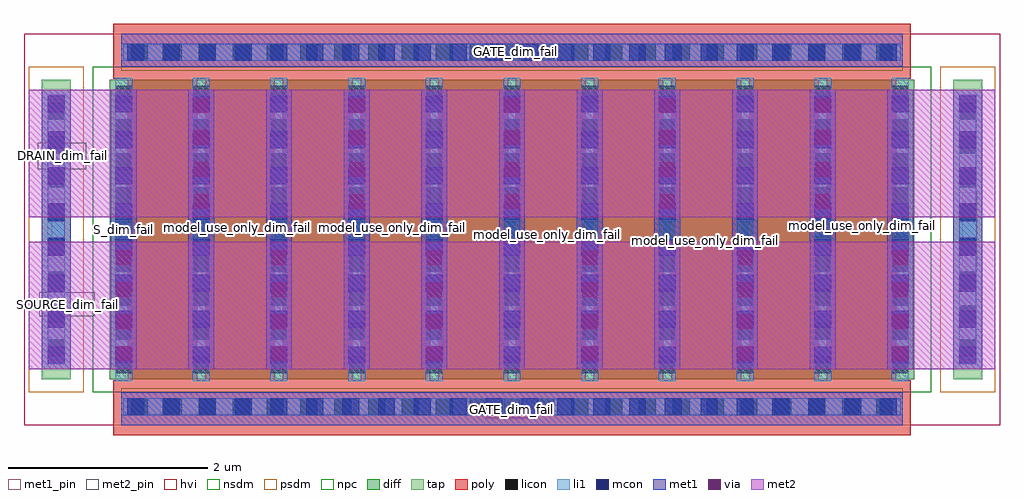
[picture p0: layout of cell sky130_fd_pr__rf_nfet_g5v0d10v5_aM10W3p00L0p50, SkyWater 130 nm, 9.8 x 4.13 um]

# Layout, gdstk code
import gdstk
lib = gdstk.Library(unit=1e-6, precision=1e-09)
def R(c, l, rs):  # rectangles x0, y0, x1, y1
    for r in rs: c.add(gdstk.rectangle(r[:2], r[2:], *l))
def A(c, l, x, y, w, h, nx, ny, dx, dy):  # array of equal rectangles
    R(c, l, [(x+i*dx, y+j*dy, x+i*dx+w, y+j*dy+h) for i in range(nx) for j in range(ny)])
def P(c, l, *ps):  # polygons
    for p in ps: c.add(gdstk.Polygon(p, *l))
diff = (65, 20)
tap = (65, 44)
poly = (66, 20)
licon = (66, 44)
li1 = (67, 20)
mcon = (67, 44)
met1_pin = (68, 16)
met1 = (68, 20)
via = (68, 44)
met2_pin = (69, 16)
met2 = (69, 20)
hvi = (75, 20)
nsdm = (93, 44)
psdm = (94, 20)
npc = (95, 20)

sky130_fd_pr__rf_nfet_g5 = lib.new_cell('sky130_fd_pr__rf_nfet_g5v0d10v5_aM10W3p00L0p50')
R(sky130_fd_pr__rf_nfet_g5, diff, [(0.86,0.46,8.94,3.47)])
R(sky130_fd_pr__rf_nfet_g5, tap, [(0.18,0.46,0.47,3.47), (9.33,0.46,9.62,3.47)])
P(sky130_fd_pr__rf_nfet_g5, poly, [(0.895,-0.1),(0.895,0.45),(1.04,0.45),(1.04,3.48),(1.74,3.48),(1.74,0.45),(1.82,0.45),(1.82,3.48),(2.52,3.48),(2.52,0.45),(2.6,0.45),(2.6,3.48),(3.3,3.48),(3.3,0.45),(3.38,0.45),(3.38,3.48),(4.08,3.48),(4.08,0.45),(4.16,0.45),(4.16,3.48),(4.86,3.48),(4.86,0.45),(4.94,0.45),(4.94,3.48),(5.64,3.48),(5.64,0.45),(5.72,0.45),(5.72,3.48),(6.42,3.48),(6.42,0.45),(6.5,0.45),(6.5,3.48),(7.2,3.48),(7.2,0.45),(7.28,0.45),(7.28,3.48),(7.98,3.48),(7.98,0.45),(8.06,0.45),(8.06,3.48),(0.895,3.48),(0.895,4.03),(8.905,4.03),(8.905,3.48),(8.76,3.48),(8.76,0.45),(8.905,0.45),(8.905,-0.1)])
A(sky130_fd_pr__rf_nfet_g5, licon, 1.075, 0.1, 0.17, 0.17, 23, 2, 0.34, 3.56)
A(sky130_fd_pr__rf_nfet_g5, licon, 0.915, 0.52, 0.17, 0.17, 11, 9, 0.78, 0.34)
A(sky130_fd_pr__rf_nfet_g5, licon, 0.24, 0.69, 0.17, 0.17, 1, 8, 0, 0.34)
A(sky130_fd_pr__rf_nfet_g5, licon, 9.39, 0.69, 0.17, 0.17, 1, 8, 0, 0.34)
A(sky130_fd_pr__rf_nfet_g5, li1, 0.915, 0.44, 0.17, 3.05, 11, 1, 0.78, 0)
A(sky130_fd_pr__rf_nfet_g5, li1, 0.915, 0.62, 0.17, 2.69, 11, 1, 0.78, 0)
R(sky130_fd_pr__rf_nfet_g5, li1, [(0.995,0.1,8.805,0.27), (1.035,0.1,8.765,0.27), (0.24,0.61,0.41,3.32), (9.39,0.61,9.56,3.32), (0.995,3.66,8.805,3.83), (1.035,3.66,8.765,3.83)])
A(sky130_fd_pr__rf_nfet_g5, mcon, 1.035, 0.1, 0.17, 0.17, 22, 2, 0.36, 3.56)
A(sky130_fd_pr__rf_nfet_g5, mcon, 0.24, 0.62, 0.17, 0.17, 1, 8, 0, 0.36)
A(sky130_fd_pr__rf_nfet_g5, mcon, 0.915, 0.62, 0.17, 0.17, 11, 8, 0.78, 0.36)
A(sky130_fd_pr__rf_nfet_g5, mcon, 9.39, 0.62, 0.17, 0.17, 1, 8, 0, 0.36)
R(sky130_fd_pr__rf_nfet_g5, met1_pin, [(4.645,0.07,5.13,0.245), (9.42,1.59,9.57,2.34), (0.28,1.63,0.41,2.275), (4.635,3.67,5.245,3.835)])
A(sky130_fd_pr__rf_nfet_g5, met1, 0.87, 0.56, 0.26, 2.81, 11, 1, 0.78, 0)
A(sky130_fd_pr__rf_nfet_g5, met1, 0.87, 0.56, 0.26, 1.28, 6, 1, 1.56, 0)
A(sky130_fd_pr__rf_nfet_g5, met1, 1.65, 2.09, 0.26, 1.28, 5, 1, 1.56, 0)
R(sky130_fd_pr__rf_nfet_g5, met1, [(0.975,0,8.825,0.33), (0.18,0.56,0.47,3.37), (9.33,0.56,9.62,3.37), (0.975,3.6,8.825,3.93)])
A(sky130_fd_pr__rf_nfet_g5, via, 0.925, 0.645, 0.15, 0.15, 6, 4, 1.56, 0.32)
A(sky130_fd_pr__rf_nfet_g5, via, 1.705, 2.175, 0.15, 0.15, 5, 4, 1.56, 0.32)
R(sky130_fd_pr__rf_nfet_g5, met2_pin, [(0.155,1.095,0.71,1.335), (0.14,2.57,0.625,2.835)])
A(sky130_fd_pr__rf_nfet_g5, met2, 0.87, 0.56, 0.26, 1.28, 6, 1, 1.56, 0)
A(sky130_fd_pr__rf_nfet_g5, met2, 1.65, 2.09, 0.26, 1.28, 5, 1, 1.56, 0)
R(sky130_fd_pr__rf_nfet_g5, met2, [(0.05,0.56,9.75,1.84), (0.05,2.09,9.75,3.37)])
R(sky130_fd_pr__rf_nfet_g5, hvi, [(0,0,9.8,3.93)])
R(sky130_fd_pr__rf_nfet_g5, nsdm, [(0.69,0.33,9.11,3.6)])
R(sky130_fd_pr__rf_nfet_g5, psdm, [(0.05,0.33,0.6,3.6), (9.2,0.33,9.75,3.6)])
R(sky130_fd_pr__rf_nfet_g5, npc, [(0.975,0,8.825,0.37), (0.975,3.56,8.825,3.93)])
sky130_fd_pr__rf_nfet_g5.add(gdstk.Label('model_use_only_dim_fail', (8.415,2.01), layer=66, texttype=83))
sky130_fd_pr__rf_nfet_g5.add(gdstk.Label('model_use_only_dim_fail', (7.605,1.91), layer=66, texttype=83))
sky130_fd_pr__rf_nfet_g5.add(gdstk.Label('model_use_only_dim_fail', (6.84,1.855), layer=66, texttype=83))
sky130_fd_pr__rf_nfet_g5.add(gdstk.Label('model_use_only_dim_fail', (6.005,1.895), layer=66, texttype=83))
sky130_fd_pr__rf_nfet_g5.add(gdstk.Label('model_use_only_dim_fail', (5.255,1.91), layer=66, texttype=83))
sky130_fd_pr__rf_nfet_g5.add(gdstk.Label('model_use_only_dim_fail', (4.495,1.96), layer=66, texttype=83))
sky130_fd_pr__rf_nfet_g5.add(gdstk.Label('model_use_only_dim_fail', (3.705,1.985), layer=66, texttype=83))
sky130_fd_pr__rf_nfet_g5.add(gdstk.Label('model_use_only_dim_fail', (2.92,2.02), layer=66, texttype=83))
sky130_fd_pr__rf_nfet_g5.add(gdstk.Label('model_use_only_dim_fail', (2.145,1.985), layer=66, texttype=83))
sky130_fd_pr__rf_nfet_g5.add(gdstk.Label('model_use_only_dim_fail', (1.345,1.97), layer=66, texttype=83))
sky130_fd_pr__rf_nfet_g5.add(gdstk.Label('D_dim_fail', (1.78,1.965), layer=83, texttype=44))
sky130_fd_pr__rf_nfet_g5.add(gdstk.Label('S_dim_fail', (1.78,1.965), layer=83, texttype=44))
sky130_fd_pr__rf_nfet_g5.add(gdstk.Label('S_dim_fail', (1,1.965), layer=83, texttype=44))
sky130_fd_pr__rf_nfet_g5.add(gdstk.Label('S_dim_fail', (1,1.965), layer=83, texttype=44))
sky130_fd_pr__rf_nfet_g5.add(gdstk.Label('D_dim_fail', (3.34,1.965), layer=83, texttype=44))
sky130_fd_pr__rf_nfet_g5.add(gdstk.Label('S_dim_fail', (2.56,1.965), layer=83, texttype=44))
sky130_fd_pr__rf_nfet_g5.add(gdstk.Label('S_dim_fail', (3.34,1.965), layer=83, texttype=44))
sky130_fd_pr__rf_nfet_g5.add(gdstk.Label('S_dim_fail', (2.56,1.965), layer=83, texttype=44))
sky130_fd_pr__rf_nfet_g5.add(gdstk.Label('D_dim_fail', (5.68,1.965), layer=83, texttype=44))
sky130_fd_pr__rf_nfet_g5.add(gdstk.Label('S_dim_fail', (4.9,1.965), layer=83, texttype=44))
sky130_fd_pr__rf_nfet_g5.add(gdstk.Label('D_dim_fail', (4.12,1.965), layer=83, texttype=44))
sky130_fd_pr__rf_nfet_g5.add(gdstk.Label('S_dim_fail', (5.68,1.965), layer=83, texttype=44))
sky130_fd_pr__rf_nfet_g5.add(gdstk.Label('S_dim_fail', (4.9,1.965), layer=83, texttype=44))
sky130_fd_pr__rf_nfet_g5.add(gdstk.Label('S_dim_fail', (4.12,1.965), layer=83, texttype=44))
sky130_fd_pr__rf_nfet_g5.add(gdstk.Label('S_dim_fail', (6.46,1.965), layer=83, texttype=44))
sky130_fd_pr__rf_nfet_g5.add(gdstk.Label('S_dim_fail', (7.24,1.965), layer=83, texttype=44))
sky130_fd_pr__rf_nfet_g5.add(gdstk.Label('S_dim_fail', (8.02,1.965), layer=83, texttype=44))
sky130_fd_pr__rf_nfet_g5.add(gdstk.Label('D_dim_fail', (6.46,1.965), layer=83, texttype=44))
sky130_fd_pr__rf_nfet_g5.add(gdstk.Label('S_dim_fail', (7.24,1.965), layer=83, texttype=44))
sky130_fd_pr__rf_nfet_g5.add(gdstk.Label('D_dim_fail', (8.02,1.965), layer=83, texttype=44))
sky130_fd_pr__rf_nfet_g5.add(gdstk.Label('S_dim_fail', (8.8,1.965), layer=83, texttype=44))
sky130_fd_pr__rf_nfet_g5.add(gdstk.Label('SOURCE_dim_fail', (0.435,1.215), layer=69, texttype=5))
sky130_fd_pr__rf_nfet_g5.add(gdstk.Label('DRAIN_dim_fail', (0.385,2.705), layer=69, texttype=5))
sky130_fd_pr__rf_nfet_g5.add(gdstk.Label('GATE_dim_fail', (4.94,3.755), layer=68, texttype=5))
sky130_fd_pr__rf_nfet_g5.add(gdstk.Label('GATE_dim_fail', (4.89,0.16), layer=68, texttype=5))
sky130_fd_pr__rf_nfet_g5.add(gdstk.Label('SUBSTRATE', (9.495,1.965), layer=68, texttype=5))
sky130_fd_pr__rf_nfet_g5.add(gdstk.Label('SUBSTRATE', (0.345,1.955), layer=68, texttype=5))

lib.write_gds('sky130_fd_pr__rf_nfet_g5v0d10v5_aM10W3p00L0p50.gds')
